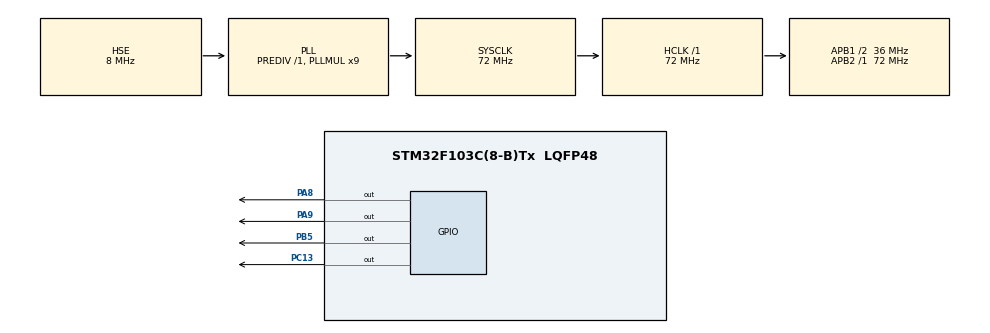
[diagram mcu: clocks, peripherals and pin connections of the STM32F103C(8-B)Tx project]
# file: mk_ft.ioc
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Mcu.Family=STM32F1
RCC.PLLSourceVirtual=RCC_PLLSOURCE_HSE
PD1-OSC_OUT.Mode=HSE-External-Oscillator
PC13-TAMPER-RTC.Signal=GPIO_Output
PD0-OSC_IN.Signal=RCC_OSC_IN
RCC.APB1CLKDivider=RCC_HCLK_DIV2
VP_SYS_VS_ND.Mode=No_Debug
RCC.SYSCLKSource=RCC_SYSCLKSOURCE_PLLCLK
ProjectManager.StackSize=0x400
PD1-OSC_OUT.Signal=RCC_OSC_OUT
ProjectManager.TargetToolchain=STM32CubeIDE
RCC.HCLKFreq_Value=72000000
RCC.APB2TimFreq_Value=72000000
PA9.Signal=GPIO_Output
RCC.USBFreq_Value=72000000
RCC.AHBFreq_Value=72000000
PD0-OSC_IN.Mode=HSE-External-Oscillator
board=custom
RCC.PLLMUL=RCC_PLL_MUL9
RCC.APB2Freq_Value=72000000
PA8.Signal=GPIO_Output
Mcu.Name=STM32F103C(8-B)Tx
RCC.SYSCLKFreq_VALUE=72000000
PB5.Signal=GPIO_Output
Mcu.Package=LQFP48
PB5.GPIO_PuPd=GPIO_PULLUP
ProjectManager.HeapSize=0x200
NVIC.PriorityGroup=NVIC_PRIORITYGROUP_4
RCC.APB1TimFreq_Value=72000000
RCC.APB1Freq_Value=36000000

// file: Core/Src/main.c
/* USER CODE BEGIN Header */
/**
  ******************************************************************************
  * @file           : main.c
  * @brief          : Main program body
  ******************************************************************************
  * @attention
  *
  * <h2><center>&copy; Copyright (c) 2020 STMicroelectronics.
  * All rights reserved.</center></h2>
  *
  * This software component is licensed by ST under BSD 3-Clause license,
  * the "License"; You may not use this file except in compliance with the
  * License. You may obtain a copy of the License at:
  *                        opensource.org/licenses/BSD-3-Clause
  *
  ******************************************************************************
  */
/* USER CODE END Header */
#include "main.h"

void SystemClock_Config(void);
static void MX_GPIO_Init(void);

int main(void)
{

  /* MCU Configuration--------------------------------------------------------*/

  /* Reset of all peripherals, Initializes the Flash interface and the Systick. */
  HAL_Init();

  /* Configure the system clock */
  SystemClock_Config();

  /* Initialize all configured peripherals */
  MX_GPIO_Init();
  /* USER CODE BEGIN 2 */
    unsigned int counter=0;
    GPIO_PinState state;
    /* USER CODE END 2 */

  /* Infinite loop */
  /* USER CODE BEGIN WHILE */
  while (1)
  {
      HAL_GPIO_TogglePin(GPIOC, GPIO_PIN_13);
      HAL_Delay(10000);
      state=HAL_GPIO_ReadPin(GPIOB, GPIO_PIN_5);
      if (state==GPIO_PIN_RESET)
      {
          HAL_Delay(1000);
          state=HAL_GPIO_ReadPin(GPIOB, GPIO_PIN_5);
          if (state==GPIO_PIN_RESET)
          ++counter;
      }
      if (counter&1U)
          HAL_GPIO_WritePin(GPIOA, GPIO_PIN_9, 1);
      else
          HAL_GPIO_WritePin(GPIOA, GPIO_PIN_9, 0);
      if (counter&2U)
          HAL_GPIO_WritePin(GPIOA, GPIO_PIN_8, 1);
      else
          HAL_GPIO_WritePin(GPIOA, GPIO_PIN_8, 0);
      if (counter&4U)
          HAL_GPIO_WritePin(GPIOA, GPIO_PIN_10, 1);
      else
          HAL_GPIO_WritePin(GPIOA, GPIO_PIN_10, 0);
      HAL_GPIO_TogglePin(GPIOC, GPIO_PIN_13);
      HAL_Delay(1000);
//      HAL_GPIO_WritePin(GPIOA, GPIO_PIN_8, 0);
//      HAL_Delay(2000);
//      HAL_GPIO_WritePin(GPIOA, GPIO_PIN_8, 1);
//      HAL_GPIO_TogglePin(GPIOC, GPIO_PIN_13);
//		HAL_Delay(500);
    /* USER CODE END WHILE */

  }
}

void SystemClock_Config(void)
{
  RCC_OscInitTypeDef RCC_OscInitStruct = {0};
  RCC_ClkInitTypeDef RCC_ClkInitStruct = {0};

  /** Initializes the RCC Oscillators according to the specified parameters
  * in the RCC_OscInitTypeDef structure.
  */
  RCC_OscInitStruct.OscillatorType = RCC_OSCILLATORTYPE_HSE;
  RCC_OscInitStruct.HSEState = RCC_HSE_ON;
  RCC_OscInitStruct.HSEPredivValue = RCC_HSE_PREDIV_DIV1;
  RCC_OscInitStruct.HSIState = RCC_HSI_ON;
  RCC_OscInitStruct.PLL.PLLState = RCC_PLL_ON;
  RCC_OscInitStruct.PLL.PLLSource = RCC_PLLSOURCE_HSE;
  RCC_OscInitStruct.PLL.PLLMUL = RCC_PLL_MUL9;
  if (HAL_RCC_OscConfig(&RCC_OscInitStruct) != HAL_OK)
  {
    Error_Handler();
  }
  /** Initializes the CPU, AHB and APB buses clocks
  */
  RCC_ClkInitStruct.ClockType = RCC_CLOCKTYPE_HCLK|RCC_CLOCKTYPE_SYSCLK
                              |RCC_CLOCKTYPE_PCLK1|RCC_CLOCKTYPE_PCLK2;
  RCC_ClkInitStruct.SYSCLKSource = RCC_SYSCLKSOURCE_PLLCLK;
  RCC_ClkInitStruct.AHBCLKDivider = RCC_SYSCLK_DIV1;
  RCC_ClkInitStruct.APB1CLKDivider = RCC_HCLK_DIV2;
  RCC_ClkInitStruct.APB2CLKDivider = RCC_HCLK_DIV1;

  if (HAL_RCC_ClockConfig(&RCC_ClkInitStruct, FLASH_LATENCY_2) != HAL_OK)
  {
    Error_Handler();
  }
}

static void MX_GPIO_Init(void)
{
  GPIO_InitTypeDef GPIO_InitStruct = {0};

  /* GPIO Ports Clock Enable */
  __HAL_RCC_GPIOC_CLK_ENABLE();
  __HAL_RCC_GPIOD_CLK_ENABLE();
  __HAL_RCC_GPIOA_CLK_ENABLE();
  __HAL_RCC_GPIOB_CLK_ENABLE();

  /*Configure GPIO pin Output Level */
  HAL_GPIO_WritePin(GPIOC, GPIO_PIN_13, GPIO_PIN_RESET);

  /*Configure GPIO pin Output Level */
  HAL_GPIO_WritePin(GPIOA, GPIO_PIN_8|GPIO_PIN_9, GPIO_PIN_RESET);

  /*Configure GPIO pin Output Level */
  HAL_GPIO_WritePin(GPIOB, GPIO_PIN_5, GPIO_PIN_RESET);

  /*Configure GPIO pin : PC13 */
  GPIO_InitStruct.Pin = GPIO_PIN_13;
  GPIO_InitStruct.Mode = GPIO_MODE_OUTPUT_PP;
  GPIO_InitStruct.Pull = GPIO_NOPULL;
  GPIO_InitStruct.Speed = GPIO_SPEED_FREQ_LOW;
  HAL_GPIO_Init(GPIOC, &GPIO_InitStruct);

  /*Configure GPIO pins : PA8 PA9 */
  GPIO_InitStruct.Pin = GPIO_PIN_8|GPIO_PIN_9;
  GPIO_InitStruct.Mode = GPIO_MODE_OUTPUT_PP;
  GPIO_InitStruct.Pull = GPIO_NOPULL;
  GPIO_InitStruct.Speed = GPIO_SPEED_FREQ_LOW;
  HAL_GPIO_Init(GPIOA, &GPIO_InitStruct);

  /*Configure GPIO pin : PB5 */
  GPIO_InitStruct.Pin = GPIO_PIN_5;
  GPIO_InitStruct.Mode = GPIO_MODE_OUTPUT_PP;
  GPIO_InitStruct.Pull = GPIO_PULLUP;
  GPIO_InitStruct.Speed = GPIO_SPEED_FREQ_LOW;
  HAL_GPIO_Init(GPIOB, &GPIO_InitStruct);

}

void Error_Handler(void)
{
}

/************************ (C) COPYRIGHT STMicroelectronics *****END OF FILE****/
